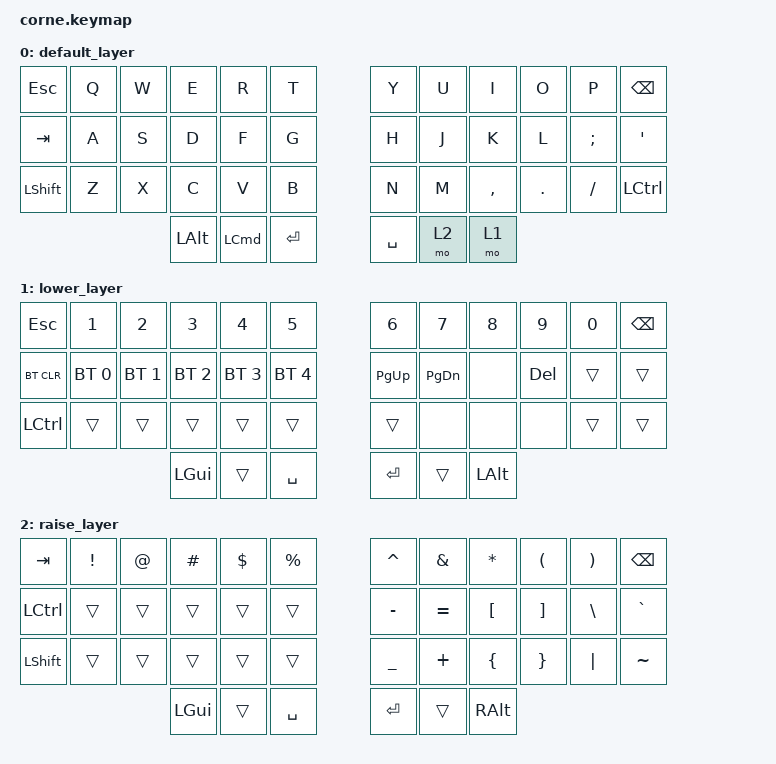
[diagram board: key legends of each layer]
/*
 * Copyright (c) 2020 The ZMK Contributors
 *
 * SPDX-License-Identifier: MIT
 */

#include <behaviors.dtsi>
#include <dt-bindings/zmk/bt.h>
#include <dt-bindings/zmk/keys.h>

/ {
    keymap {
        compatible = "zmk,keymap";

        default_layer {
            // -----------------------------------------------------------------------------------------
            // |  TAB |  Q  |  W  |  E  |  R  |  T  |   |  Y  |  U   |  I  |  O  |  P  | BKSP |
            // | CTRL |  A  |  S  |  D  |  F  |  G  |   |  H  |  J   |  K  |  L  |  ;  |  '   |
            // | SHFT |  Z  |  X  |  C  |  V  |  B  |   |  N  |  M   |  ,  |  .  |  /  | ESC  |
            //                    | GUI | LWR | SPC |   | ENT | RSE  | ALT |

            bindings = <
&kp ESC         &kp Q  &kp W  &kp E         &kp R             &kp T         &kp Y      &kp U  &kp I      &kp O    &kp P          &kp BACKSPACE
&kp TAB         &kp A  &kp S  &kp D         &kp F             &kp G         &kp H      &kp J  &kp K      &kp L    &kp SEMICOLON  &kp SINGLE_QUOTE
&kp LEFT_SHIFT  &kp Z  &kp X  &kp C         &kp V             &kp B         &kp N      &kp M  &kp COMMA  &kp DOT  &kp SLASH      &kp LEFT_CONTROL
                              &kp LEFT_ALT  &kp LEFT_COMMAND  &kp RETURN    &kp SPACE  &mo 2  &mo 1
            >;
        };

        lower_layer {
            // -----------------------------------------------------------------------------------------
            // |  TAB |  1  |  2  |  3  |  4  |  5  |   |  6  |  7  |  8  |  9  |  0  | BKSP |
            // | BTCLR| BT1 | BT2 | BT3 | BT4 | BT5 |   | LFT | DWN |  UP | RGT |     |      |
            // | SHFT |     |     |     |     |     |   |     |     |     |     |     |      |
            //                    | GUI |     | SPC |   | ENT |     | ALT |

            bindings = <
&kp ESC           &kp N1        &kp N2        &kp N3        &kp N4        &kp N5          &kp N6       &kp N7         &kp N8        &kp N9      &kp N0  &kp BSPC
&bt BT_CLR        &bt BT_SEL 0  &bt BT_SEL 1  &bt BT_SEL 2  &bt BT_SEL 3  &bt BT_SEL 4    &kp PAGE_UP  &kp PAGE_DOWN  &none         &kp DELETE  &trans  &trans
&kp LEFT_CONTROL  &trans        &trans        &trans        &trans        &trans          &trans       &none          &none         &none       &trans  &trans
                                              &kp LGUI      &trans        &kp SPACE       &kp RET      &trans         &kp LEFT_ALT
            >;
        };

        raise_layer {
            // -----------------------------------------------------------------------------------------
            // |  TAB |  !  |  @  |  #  |  $  |  %  |   |  ^  |  &  |  *  |  (  |  )  | BKSP |
            // | CTRL |     |     |     |     |     |   |  -  |  =  |  [  |  ]  |  \  |  `   |
            // | SHFT |     |     |     |     |     |   |  _  |  +  |  {  |  }  | "|" |  ~   |
            //                    | GUI |     | SPC |   | ENT |     | ALT |

            bindings = <
&kp TAB    &kp EXCL  &kp AT  &kp HASH  &kp DLLR  &kp PRCNT    &kp CARET  &kp AMPS   &kp ASTRK  &kp LPAR  &kp RPAR  &kp BSPC
&kp LCTRL  &trans    &trans  &trans    &trans    &trans       &kp MINUS  &kp EQUAL  &kp LBKT   &kp RBKT  &kp BSLH  &kp GRAVE
&kp LSHFT  &trans    &trans  &trans    &trans    &trans       &kp UNDER  &kp PLUS   &kp LBRC   &kp RBRC  &kp PIPE  &kp TILDE
                             &kp LGUI  &trans    &kp SPACE    &kp RET    &trans     &kp RALT
            >;
        };
    };
};
